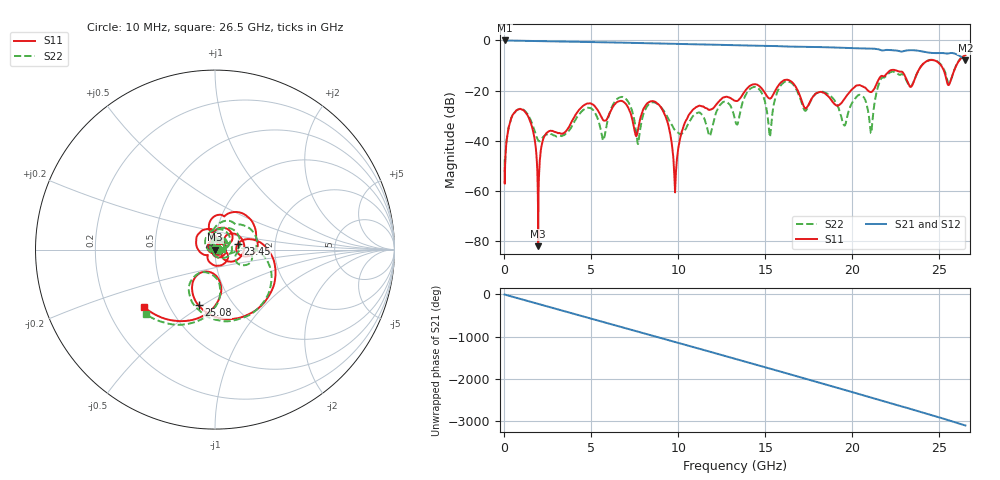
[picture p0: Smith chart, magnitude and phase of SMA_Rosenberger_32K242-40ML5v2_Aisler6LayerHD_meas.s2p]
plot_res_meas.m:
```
% BSD 2-Clause License
% Copyright (c) 2023, Tobias Ammann
% 
% Redistribution and use in source and binary forms, with or without
% modification, are permitted provided that the following conditions are met:
% 
% 1. Redistributions of source code must retain the above copyright notice, this
%    list of conditions and the following disclaimer.
% 
% 2. Redistributions in binary form must reproduce the above copyright notice,
%    this list of conditions and the following disclaimer in the documentation
%    and/or other materials provided with the distribution.
%
% THIS SOFTWARE IS PROVIDED BY THE COPYRIGHT HOLDERS AND CONTRIBUTORS "AS IS"
% AND ANY EXPRESS OR IMPLIED WARRANTIES, INCLUDING, BUT NOT LIMITED TO, THE
% IMPLIED WARRANTIES OF MERCHANTABILITY AND FITNESS FOR A PARTICULAR PURPOSE ARE
% DISCLAIMED. IN NO EVENT SHALL THE COPYRIGHT HOLDER OR CONTRIBUTORS BE LIABLE
% FOR ANY DIRECT, INDIRECT, INCIDENTAL, SPECIAL, EXEMPLARY, OR CONSEQUENTIAL
% DAMAGES (INCLUDING, BUT NOT LIMITED TO, PROCUREMENT OF SUBSTITUTE GOODS OR
% SERVICES; LOSS OF USE, DATA, OR PROFITS; OR BUSINESS INTERRUPTION) HOWEVER
% CAUSED AND ON ANY THEORY OF LIABILITY, WHETHER IN CONTRACT, STRICT LIABILITY,
% OR TORT (INCLUDING NEGLIGENCE OR OTHERWISE) ARISING IN ANY WAY OUT OF THE USE
% OF THIS SOFTWARE, EVEN IF ADVISED OF THE POSSIBILITY OF SUCH DAMAGE.

close all;
addpath('../CTB');

% Plot Size and scaling
size_x = 1280;
size_y = 720;
ref_line_y = -20;
x_lim = [0, 25];
y_lim = [-35, 0];
cmap = lines (21);

% Parse Touchstone
[type,freq,sp,ref,comment]=read_touchstone('SMA_Rosenberger_32K242-40ML5v2_Aisler6LayerHD_meas.s2p');

s11dB = 20*log10(abs(squeeze(sp(1,1,:))));
s21dB = 20*log10(abs(squeeze(sp(2,1,:))));
s12dB = 20*log10(abs(squeeze(sp(1,2,:))));
s22dB = 20*log10(abs(squeeze(sp(2,2,:))));

% Create Figure
fig = figure('Position', [0,0, size_x, size_y]);

% Plot Lines
hold on;
plot(freq/1e9, s11dB, 'Linewidth', 1.5);
plot(freq/1e9, s21dB, 'Linewidth', 1.5);
plot(freq/1e9, s12dB, 'Linewidth', 1.5);
plot(freq/1e9, s22dB, 'Linewidth', 1.5);
plot(xlim, repmat(ref_line_y, 1, 2), 'bk--', 'Linewidth', 0.5);
text(28, ref_line_y + 0.8, [num2str(ref_line_y), ' dB'], 'FontSize', 10)

% Marker S11
[~, mkr_idx] = min(abs(freq - 16.245e9))
mkr_val = s11dB(mkr_idx);
text(freq(mkr_idx)/1e9, mkr_val + 1, [num2str(mkr_val, '%.2f'), ' dB'], 'FontSize', 9, 'horizontalalignment', 'center');
plot(freq(mkr_idx)/1e9, mkr_val, 'or', 'markersize', 8);

% Marker S21
[~, mkr_idx] = min(abs(freq - 20e9))
mkr_val = s21dB(mkr_idx);
text(freq(mkr_idx)/1e9, mkr_val + 1, [num2str(mkr_val, '%.2f'), ' dB'], 'FontSize', 9, 'horizontalalignment', 'center');
plot(freq(mkr_idx)/1e9, mkr_val, 'or', 'markersize', 8);
hold off;

% Apply Scaling
xlim(x_lim);
ylim(y_lim);

% Plot Texts
legend('S_{11}', 'S_{21}', 'S_{12}', 'S_{22}', 'FontSize', 11);
title({'Rosenberger 32K242-40ML5 on Aisler 6LayerHD',...
       'Measurement: Test Board (Back to Back)'});
xlabel('Frequency / GHz');
ylabel('Magnitude / dB');
grid minor

% Export to JPG and PDF
print('plot_res_meas_testboard.pdf', '-landscape', '-bestfit');
print('plot_res_meas_testboard.png', '-dpng', sprintf('-S%i,%i', size_x, size_y));
```
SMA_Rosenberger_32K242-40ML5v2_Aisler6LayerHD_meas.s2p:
!Keysight Technologies,N5242B,MY48220591,A.15.75.19
!Date: Tuesday, May 30, 2023 17:30:02
!Correction: S11(C  2-Port  )
!S21(C  2-Port  )
!S12(C  2-Port  )
!S22(C  2-Port  )
!S2P File: Measurements: S11, S21, S12, S22:
# Hz S  RI  R 50
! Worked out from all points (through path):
!   2650 points, 10 MHz to 26.5 GHz, reference 50 ohm
!   highest |S21| = 0.00 dB at 20 MHz (marker M1); lowest = -7.9 dB at 26.5 GHz (marker M2)
!   group delay of S21, straight-line fit = 323 ps
!   lowest |S11| = -82.1 dB at 1.94 GHz (marker M3), VSWR 1.00, Z = 50 - j0.00144 ohm
!   |S11| at or under -10 dB: start of sweep to 23.98 GHz; 25.1 GHz to 25.98 GHz (874 MHz wide, 3.42 % of centre)
!   |S22| runs from -52.4 to -5.6 dB; largest |S21 - S12| = 0.0016
!   S11 on the Smith chart (normalised r, x): 10 MHz: 1.00, +0.01; 23.45 GHz: 1.28, +0.08; 25.08 GHz: 0.69, -0.48; 26.5 GHz: 0.36, -0.31
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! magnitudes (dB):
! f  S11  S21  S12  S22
! 10 MHz  -51.0  0.0  0.0  -47.5
! 20 MHz  -57.2  0.0  0.0  -52.2
! 1 GHz  -27.6  -0.2  -0.2  -27.4
! 1.94 GHz  -82.1  -0.3  -0.3  -39.8
! 4.73 GHz  -25.2  -0.6  -0.6  -26.9
! 8.76 GHz  -25.0  -1.2  -1.2  -25.1
! 9.82 GHz  -59.3  -1.4  -1.4  -35.9
! 13.26 GHz  -24.1  -1.9  -1.9  -31.8
! 23.45 GHz  -17.8  -3.9  -3.9  -17.5
! 25.08 GHz  -9.8  -5.0  -5.0  -9.5
! 26.5 GHz  -5.9  -7.9  -7.9  -5.6
